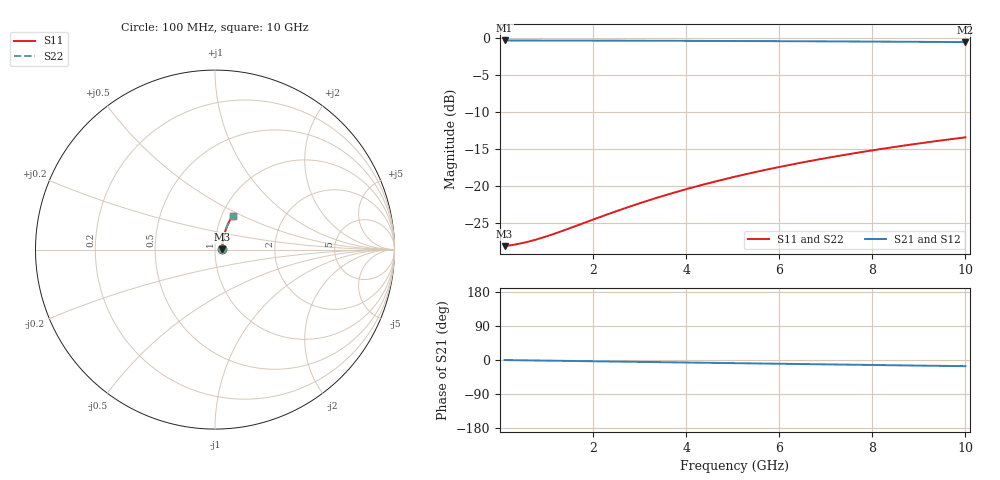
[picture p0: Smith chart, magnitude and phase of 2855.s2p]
# Hz S RI R 50.00
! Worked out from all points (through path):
!   100 points, 100 MHz to 10 GHz, reference 50 ohm
!   highest |S21| = -0.35 dB at 100 MHz (marker M1); lowest = -0.6 dB at 10 GHz (marker M2)
!   group delay of S21, straight-line fit = 4.54 ps
!   lowest |S11| = -28.1 dB at 100 MHz (marker M3), VSWR 1.08, Z = 54.1 + j0.222 ohm
!   |S11| at or under -10 dB: start of sweep to end of sweep
!   |S22| runs from -28.1 to -13.4 dB; largest |S21 - S12| = 0
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1e8  0.0393 0.00205  0.9607 -0.00279  0.9607 -0.00279  0.0393 0.00205
3e8  0.0398 0.00613  0.9602 -0.00835  0.9602 -0.00835  0.0398 0.00613
5e8  0.0401 0.0102  0.9599 -0.0139  0.9599 -0.0139  0.0401 0.0102
8e8  0.0406 0.0163  0.9593 -0.0222  0.9593 -0.0222  0.0406 0.0163
1e9  0.041 0.0204  0.959 -0.0278  0.959 -0.0278  0.041 0.0204
1.2e9  0.0414 0.0245  0.9585 -0.0333  0.9585 -0.0333  0.0414 0.0245
1.8e9  0.0428 0.0366  0.9571 -0.0499  0.9571 -0.0499  0.0428 0.0366
2.3e9  0.0442 0.0467  0.9556 -0.0637  0.9556 -0.0637  0.0442 0.0467
2.7e9  0.0455 0.0547  0.9542 -0.0747  0.9542 -0.0747  0.0455 0.0547
3.1e9  0.047 0.0627  0.9527 -0.0856  0.9527 -0.0856  0.047 0.0627
3.4e9  0.0483 0.0686  0.9514 -0.0938  0.9514 -0.0938  0.0483 0.0686
3.8e9  0.05 0.0765  0.9495 -0.1047  0.9495 -0.1047  0.05 0.0765
4.2e9  0.052 0.0844  0.9475 -0.1155  0.9475 -0.1155  0.052 0.0844
4.6e9  0.0541 0.0922  0.9452 -0.1262  0.9452 -0.1262  0.0541 0.0922
5.1e9  0.057 0.1018  0.9422 -0.1396  0.9422 -0.1396  0.057 0.1018
5.5e9  0.0596 0.1094  0.9396 -0.1502  0.9396 -0.1502  0.0596 0.1094
5.9e9  0.0622 0.117  0.9368 -0.1607  0.9368 -0.1607  0.0622 0.117
6.7e9  0.0681 0.1319  0.9306 -0.1815  0.9306 -0.1815  0.0681 0.1319
7.5e9  0.0746 0.1464  0.9238 -0.202  0.9238 -0.202  0.0746 0.1464
8.4e9  0.0826 0.1623  0.9154 -0.2245  0.9154 -0.2245  0.0826 0.1623
9.2e9  0.0903 0.176  0.9073 -0.2441  0.9073 -0.2441  0.0903 0.176
1e10  0.0986 0.1892  0.8985 -0.2633  0.8985 -0.2633  0.0986 0.1892
